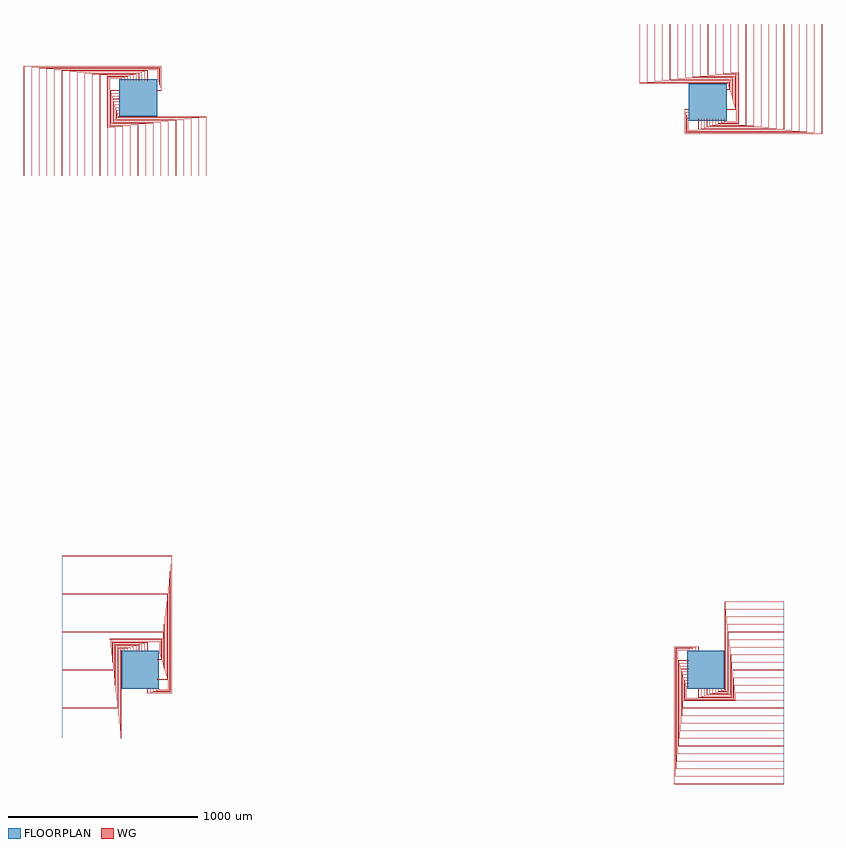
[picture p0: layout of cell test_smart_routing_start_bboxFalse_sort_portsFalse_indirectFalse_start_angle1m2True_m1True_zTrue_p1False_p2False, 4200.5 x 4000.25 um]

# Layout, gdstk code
import gdstk
lib = gdstk.Library(unit=1e-6, precision=1e-09)
def R(c, l, rs):  # rectangles x0, y0, x1, y1
    for r in rs: c.add(gdstk.rectangle(r[:2], r[2:], *l))
def P(c, l, *ps):  # polygons
    for p in ps: c.add(gdstk.Polygon(p, *l))
WG = (1, 0)
FLOORPLAN = (10, 0)

test_smart_routing_start = lib.new_cell('test_smart_routing_start_bboxFalse_sort_portsFalse_indirectFalse_start_angle1m2True_m1True_zTrue_p1False_p2False')
P(test_smart_routing_start, WG, [(49.75,-122.5),(49.75,-100),(50.25,-100),(50.25,-122),(177.25,-122),(177.25,599.75),(-400,599.75),(-400,600.25),(177.75,600.25),(177.75,-122.5)],
  [(64.75,-118),(64.75,-100),(65.25,-100),(65.25,-117.5),(172.75,-117.5),(172.75,559.75),(-400,559.75),(-400,560.25),(173.25,560.25),(173.25,-118)],
  [(79.75,-113.5),(79.75,-100),(80.25,-100),(80.25,-113),(168.25,-113),(168.25,519.75),(-400,519.75),(-400,520.25),(168.75,520.25),(168.75,-113.5)],
  [(94.75,-109),(94.75,-100),(95.25,-100),(95.25,-108.5),(163.75,-108.5),(163.75,479.75),(-400,479.75),(-400,480.25),(164.25,480.25),(164.25,-109)],
  [(109.75,-104.5),(109.75,-100),(110.25,-100),(110.25,-104),(159.25,-104),(159.25,439.75),(-400,439.75),(-400,440.25),(159.75,440.25),(159.75,-104.5)],
  [(100,-50.25),(100,-49.75),(154.75,-49.75),(154.75,399.75),(-400,399.75),(-400,400.25),(155.25,400.25),(155.25,-50.25)],
  [(100,-35.25),(100,-34.75),(150.25,-34.75),(150.25,359.75),(-400,359.75),(-400,360.25),(150.75,360.25),(150.75,-35.25)],
  [(100,-20.25),(100,-19.75),(145.75,-19.75),(145.75,319.75),(-400,319.75),(-400,320.25),(146.25,320.25),(146.25,-20.25)],
  [(100,-5.25),(100,-4.75),(141.25,-4.75),(141.25,279.75),(-400,279.75),(-400,280.25),(141.75,280.25),(141.75,-5.25)],
  [(100,9.75),(100,10.25),(136.75,10.25),(136.75,239.75),(-400,239.75),(-400,240.25),(137.25,240.25),(137.25,9.75)],
  [(100,24.75),(100,25.25),(132.25,25.25),(132.25,199.75),(-400,199.75),(-400,200.25),(132.75,200.25),(132.75,24.75)],
  [(100,39.75),(100,40.25),(127.75,40.25),(127.75,162.5),(-147.75,162.5),(-147.75,159.75),(-400,159.75),(-400,160.25),(-148.25,160.25),(-148.25,163),(128.25,163),(128.25,39.75)],
  [(100,54.75),(100,55.25),(123.25,55.25),(123.25,158),(-143.25,158),(-143.25,119.75),(-400,119.75),(-400,120.25),(-143.75,120.25),(-143.75,158.5),(123.75,158.5),(123.75,54.75)],
  [(100,69.75),(100,70.25),(118.75,70.25),(118.75,153.5),(-138.75,153.5),(-138.75,79.75),(-400,79.75),(-400,80.25),(-139.25,80.25),(-139.25,154),(119.25,154),(119.25,69.75)],
  [(-400,39.75),(-400,40.25),(-134.75,40.25),(-134.75,149.5),(114.75,149.5),(114.75,84.75),(100,84.75),(100,85.25),(114.25,85.25),(114.25,149),(-134.25,149),(-134.25,39.75)],
  [(-400,-0.25),(-400,0.25),(-130.25,0.25),(-130.25,145),(50.25,145),(50.25,100),(49.75,100),(49.75,144.5),(-129.75,144.5),(-129.75,-0.25)],
  [(-400,-40.25),(-400,-39.75),(-125.75,-39.75),(-125.75,140.5),(35.25,140.5),(35.25,100),(34.75,100),(34.75,140),(-125.25,140),(-125.25,-40.25)],
  [(-400,-80.25),(-400,-79.75),(-121.25,-79.75),(-121.25,136),(20.25,136),(20.25,100),(19.75,100),(19.75,135.5),(-120.75,135.5),(-120.75,-80.25)],
  [(-400,-120.25),(-400,-119.75),(-116.75,-119.75),(-116.75,131.5),(5.25,131.5),(5.25,100),(4.75,100),(4.75,131),(-116.25,131),(-116.25,-120.25)],
  [(-400,-160.25),(-400,-159.75),(-112.25,-159.75),(-112.25,127),(-9.75,127),(-9.75,100),(-10.25,100),(-10.25,126.5),(-111.75,126.5),(-111.75,-160.25)],
  [(-400,-200.25),(-400,-199.75),(-107.75,-199.75),(-107.75,122.5),(-24.75,122.5),(-24.75,100),(-25.25,100),(-25.25,122),(-107.25,122),(-107.25,-200.25)],
  [(-400,-240.25),(-400,-239.75),(-103.25,-239.75),(-103.25,118),(-39.75,118),(-39.75,100),(-40.25,100),(-40.25,117.5),(-102.75,117.5),(-102.75,-240.25)],
  [(-400,-280.25),(-400,-279.75),(-98.75,-279.75),(-98.75,113.5),(-54.75,113.5),(-54.75,100),(-55.25,100),(-55.25,113),(-98.25,113),(-98.25,-280.25)],
  [(-400,-320.25),(-400,-319.75),(-94.25,-319.75),(-94.25,109),(-69.75,109),(-69.75,100),(-70.25,100),(-70.25,108.5),(-93.75,108.5),(-93.75,-320.25)],
  [(-400,-360.25),(-400,-359.75),(-89.75,-359.75),(-89.75,104.5),(-84.75,104.5),(-84.75,100),(-85.25,100),(-85.25,104),(-89.25,104),(-89.25,-360.25)],
  [(-600.25,2600),(-600.25,3177.75),(122.5,3177.75),(122.5,3049.75),(100,3049.75),(100,3050.25),(122,3050.25),(122,3177.25),(-599.75,3177.25),(-599.75,2600)],
  [(-560.25,2600),(-560.25,3173.25),(118,3173.25),(118,3064.75),(100,3064.75),(100,3065.25),(117.5,3065.25),(117.5,3172.75),(-559.75,3172.75),(-559.75,2600)],
  [(-520.25,2600),(-520.25,3168.75),(113.5,3168.75),(113.5,3079.75),(100,3079.75),(100,3080.25),(113,3080.25),(113,3168.25),(-519.75,3168.25),(-519.75,2600)],
  [(-480.25,2600),(-480.25,3164.25),(109,3164.25),(109,3094.75),(100,3094.75),(100,3095.25),(108.5,3095.25),(108.5,3163.75),(-479.75,3163.75),(-479.75,2600)],
  [(-440.25,2600),(-440.25,3159.75),(104.5,3159.75),(104.5,3109.75),(100,3109.75),(100,3110.25),(104,3110.25),(104,3159.25),(-439.75,3159.25),(-439.75,2600)],
  [(-400.25,2600),(-400.25,3155.25),(50.25,3155.25),(50.25,3100),(49.75,3100),(49.75,3154.75),(-399.75,3154.75),(-399.75,2600)],
  [(-360.25,2600),(-360.25,3150.75),(35.25,3150.75),(35.25,3100),(34.75,3100),(34.75,3150.25),(-359.75,3150.25),(-359.75,2600)],
  [(-320.25,2600),(-320.25,3146.25),(20.25,3146.25),(20.25,3100),(19.75,3100),(19.75,3145.75),(-319.75,3145.75),(-319.75,2600)],
  [(-280.25,2600),(-280.25,3141.75),(5.25,3141.75),(5.25,3100),(4.75,3100),(4.75,3141.25),(-279.75,3141.25),(-279.75,2600)],
  [(-240.25,2600),(-240.25,3137.25),(-9.75,3137.25),(-9.75,3100),(-10.25,3100),(-10.25,3136.75),(-239.75,3136.75),(-239.75,2600)],
  [(-200.25,2600),(-200.25,3132.75),(-24.75,3132.75),(-24.75,3100),(-25.25,3100),(-25.25,3132.25),(-199.75,3132.25),(-199.75,2600)],
  [(-160.25,2600),(-160.25,2851.75),(-163,2851.75),(-163,3128.25),(-39.75,3128.25),(-39.75,3100),(-40.25,3100),(-40.25,3127.75),(-162.5,3127.75),(-162.5,2852.25),(-159.75,2852.25),(-159.75,2600)],
  [(-120.25,2600),(-120.25,2856.25),(-158.5,2856.25),(-158.5,3123.75),(-54.75,3123.75),(-54.75,3100),(-55.25,3100),(-55.25,3123.25),(-158,3123.25),(-158,2856.75),(-119.75,2856.75),(-119.75,2600)],
  [(-80.25,2600),(-80.25,2860.75),(-154,2860.75),(-154,3119.25),(-69.75,3119.25),(-69.75,3100),(-70.25,3100),(-70.25,3118.75),(-153.5,3118.75),(-153.5,2861.25),(-79.75,2861.25),(-79.75,2600)],
  [(-40.25,2600),(-40.25,2865.25),(-149.5,2865.25),(-149.5,3114.75),(-84.75,3114.75),(-84.75,3100),(-85.25,3100),(-85.25,3114.25),(-149,3114.25),(-149,2865.75),(-39.75,2865.75),(-39.75,2600)],
  [(-0.25,2600),(-0.25,2869.75),(-145,2869.75),(-145,3050.25),(-100,3050.25),(-100,3049.75),(-144.5,3049.75),(-144.5,2870.25),(0.25,2870.25),(0.25,2600)],
  [(39.75,2600),(39.75,2874.25),(-140.5,2874.25),(-140.5,3035.25),(-100,3035.25),(-100,3034.75),(-140,3034.75),(-140,2874.75),(40.25,2874.75),(40.25,2600)],
  [(79.75,2600),(79.75,2878.75),(-136,2878.75),(-136,3020.25),(-100,3020.25),(-100,3019.75),(-135.5,3019.75),(-135.5,2879.25),(80.25,2879.25),(80.25,2600)],
  [(119.75,2600),(119.75,2883.25),(-131.5,2883.25),(-131.5,3005.25),(-100,3005.25),(-100,3004.75),(-131,3004.75),(-131,2883.75),(120.25,2883.75),(120.25,2600)],
  [(159.75,2600),(159.75,2887.75),(-127,2887.75),(-127,2990.25),(-100,2990.25),(-100,2989.75),(-126.5,2989.75),(-126.5,2888.25),(160.25,2888.25),(160.25,2600)],
  [(199.75,2600),(199.75,2892.25),(-122.5,2892.25),(-122.5,2975.25),(-100,2975.25),(-100,2974.75),(-122,2974.75),(-122,2892.75),(200.25,2892.75),(200.25,2600)],
  [(239.75,2600),(239.75,2896.75),(-118,2896.75),(-118,2960.25),(-100,2960.25),(-100,2959.75),(-117.5,2959.75),(-117.5,2897.25),(240.25,2897.25),(240.25,2600)],
  [(279.75,2600),(279.75,2901.25),(-113.5,2901.25),(-113.5,2945.25),(-100,2945.25),(-100,2944.75),(-113,2944.75),(-113,2901.75),(280.25,2901.75),(280.25,2600)],
  [(319.75,2600),(319.75,2905.75),(-109,2905.75),(-109,2930.25),(-100,2930.25),(-100,2929.75),(-108.5,2929.75),(-108.5,2906.25),(320.25,2906.25),(320.25,2600)],
  [(359.75,2600),(359.75,2910.25),(-104.5,2910.25),(-104.5,2915.25),(-100,2915.25),(-100,2914.75),(-104,2914.75),(-104,2910.75),(360.25,2910.75),(360.25,2600)],
  [(2822.25,-600.25),(2822.25,122.5),(2950.25,122.5),(2950.25,100),(2949.75,100),(2949.75,122),(2822.75,122),(2822.75,-599.75),(3400,-599.75),(3400,-600.25)],
  [(2826.75,-560.25),(2826.75,118),(2935.25,118),(2935.25,100),(2934.75,100),(2934.75,117.5),(2827.25,117.5),(2827.25,-559.75),(3400,-559.75),(3400,-560.25)],
  [(2831.25,-520.25),(2831.25,113.5),(2920.25,113.5),(2920.25,100),(2919.75,100),(2919.75,113),(2831.75,113),(2831.75,-519.75),(3400,-519.75),(3400,-520.25)],
  [(2835.75,-480.25),(2835.75,109),(2905.25,109),(2905.25,100),(2904.75,100),(2904.75,108.5),(2836.25,108.5),(2836.25,-479.75),(3400,-479.75),(3400,-480.25)],
  [(2840.25,-440.25),(2840.25,104.5),(2890.25,104.5),(2890.25,100),(2889.75,100),(2889.75,104),(2840.75,104),(2840.75,-439.75),(3400,-439.75),(3400,-440.25)],
  [(2844.75,-400.25),(2844.75,50.25),(2900,50.25),(2900,49.75),(2845.25,49.75),(2845.25,-399.75),(3400,-399.75),(3400,-400.25)],
  [(2849.25,-360.25),(2849.25,35.25),(2900,35.25),(2900,34.75),(2849.75,34.75),(2849.75,-359.75),(3400,-359.75),(3400,-360.25)],
  [(2853.75,-320.25),(2853.75,20.25),(2900,20.25),(2900,19.75),(2854.25,19.75),(2854.25,-319.75),(3400,-319.75),(3400,-320.25)],
  [(2858.25,-280.25),(2858.25,5.25),(2900,5.25),(2900,4.75),(2858.75,4.75),(2858.75,-279.75),(3400,-279.75),(3400,-280.25)],
  [(2862.75,-240.25),(2862.75,-9.75),(2900,-9.75),(2900,-10.25),(2863.25,-10.25),(2863.25,-239.75),(3400,-239.75),(3400,-240.25)],
  [(2867.25,-200.25),(2867.25,-24.75),(2900,-24.75),(2900,-25.25),(2867.75,-25.25),(2867.75,-199.75),(3400,-199.75),(3400,-200.25)],
  [(2871.75,-163),(2871.75,-39.75),(2900,-39.75),(2900,-40.25),(2872.25,-40.25),(2872.25,-162.5),(3147.75,-162.5),(3147.75,-159.75),(3400,-159.75),(3400,-160.25),(3148.25,-160.25),(3148.25,-163)],
  [(2876.25,-158.5),(2876.25,-54.75),(2900,-54.75),(2900,-55.25),(2876.75,-55.25),(2876.75,-158),(3143.25,-158),(3143.25,-119.75),(3400,-119.75),(3400,-120.25),(3143.75,-120.25),(3143.75,-158.5)],
  [(2880.75,-154),(2880.75,-69.75),(2900,-69.75),(2900,-70.25),(2881.25,-70.25),(2881.25,-153.5),(3138.75,-153.5),(3138.75,-79.75),(3400,-79.75),(3400,-80.25),(3139.25,-80.25),(3139.25,-154)],
  [(2885.25,-149.5),(2885.25,-84.75),(2900,-84.75),(2900,-85.25),(2885.75,-85.25),(2885.75,-149),(3134.25,-149),(3134.25,-39.75),(3400,-39.75),(3400,-40.25),(3134.75,-40.25),(3134.75,-149.5)],
  [(2949.75,-145),(2949.75,-100),(2950.25,-100),(2950.25,-144.5),(3129.75,-144.5),(3129.75,0.25),(3400,0.25),(3400,-0.25),(3130.25,-0.25),(3130.25,-145)],
  [(2964.75,-140.5),(2964.75,-100),(2965.25,-100),(2965.25,-140),(3125.25,-140),(3125.25,40.25),(3400,40.25),(3400,39.75),(3125.75,39.75),(3125.75,-140.5)],
  [(2979.75,-136),(2979.75,-100),(2980.25,-100),(2980.25,-135.5),(3120.75,-135.5),(3120.75,80.25),(3400,80.25),(3400,79.75),(3121.25,79.75),(3121.25,-136)],
  [(2994.75,-131.5),(2994.75,-100),(2995.25,-100),(2995.25,-131),(3116.25,-131),(3116.25,120.25),(3400,120.25),(3400,119.75),(3116.75,119.75),(3116.75,-131.5)],
  [(3009.75,-127),(3009.75,-100),(3010.25,-100),(3010.25,-126.5),(3111.75,-126.5),(3111.75,160.25),(3400,160.25),(3400,159.75),(3112.25,159.75),(3112.25,-127)],
  [(3024.75,-122.5),(3024.75,-100),(3025.25,-100),(3025.25,-122),(3107.25,-122),(3107.25,200.25),(3400,200.25),(3400,199.75),(3107.75,199.75),(3107.75,-122.5)],
  [(3039.75,-118),(3039.75,-100),(3040.25,-100),(3040.25,-117.5),(3102.75,-117.5),(3102.75,240.25),(3400,240.25),(3400,239.75),(3103.25,239.75),(3103.25,-118)],
  [(3054.75,-113.5),(3054.75,-100),(3055.25,-100),(3055.25,-113),(3098.25,-113),(3098.25,280.25),(3400,280.25),(3400,279.75),(3098.75,279.75),(3098.75,-113.5)],
  [(3069.75,-109),(3069.75,-100),(3070.25,-100),(3070.25,-108.5),(3093.75,-108.5),(3093.75,320.25),(3400,320.25),(3400,319.75),(3094.25,319.75),(3094.25,-109)],
  [(3084.75,-104.5),(3084.75,-100),(3085.25,-100),(3085.25,-104),(3089.25,-104),(3089.25,360.25),(3400,360.25),(3400,359.75),(3089.75,359.75),(3089.75,-104.5)],
  [(2877.5,2822.25),(2877.5,2950.25),(2900,2950.25),(2900,2949.75),(2878,2949.75),(2878,2822.75),(3599.75,2822.75),(3599.75,3400),(3600.25,3400),(3600.25,2822.25)],
  [(2882,2826.75),(2882,2935.25),(2900,2935.25),(2900,2934.75),(2882.5,2934.75),(2882.5,2827.25),(3559.75,2827.25),(3559.75,3400),(3560.25,3400),(3560.25,2826.75)],
  [(2886.5,2831.25),(2886.5,2920.25),(2900,2920.25),(2900,2919.75),(2887,2919.75),(2887,2831.75),(3519.75,2831.75),(3519.75,3400),(3520.25,3400),(3520.25,2831.25)],
  [(2891,2835.75),(2891,2905.25),(2900,2905.25),(2900,2904.75),(2891.5,2904.75),(2891.5,2836.25),(3479.75,2836.25),(3479.75,3400),(3480.25,3400),(3480.25,2835.75)],
  [(2895.5,2840.25),(2895.5,2890.25),(2900,2890.25),(2900,2889.75),(2896,2889.75),(2896,2840.75),(3439.75,2840.75),(3439.75,3400),(3440.25,3400),(3440.25,2840.25)],
  [(2949.75,2844.75),(2949.75,2900),(2950.25,2900),(2950.25,2845.25),(3399.75,2845.25),(3399.75,3400),(3400.25,3400),(3400.25,2844.75)],
  [(2964.75,2849.25),(2964.75,2900),(2965.25,2900),(2965.25,2849.75),(3359.75,2849.75),(3359.75,3400),(3360.25,3400),(3360.25,2849.25)],
  [(2979.75,2853.75),(2979.75,2900),(2980.25,2900),(2980.25,2854.25),(3319.75,2854.25),(3319.75,3400),(3320.25,3400),(3320.25,2853.75)],
  [(2994.75,2858.25),(2994.75,2900),(2995.25,2900),(2995.25,2858.75),(3279.75,2858.75),(3279.75,3400),(3280.25,3400),(3280.25,2858.25)],
  [(3009.75,2862.75),(3009.75,2900),(3010.25,2900),(3010.25,2863.25),(3239.75,2863.25),(3239.75,3400),(3240.25,3400),(3240.25,2862.75)],
  [(3024.75,2867.25),(3024.75,2900),(3025.25,2900),(3025.25,2867.75),(3199.75,2867.75),(3199.75,3400),(3200.25,3400),(3200.25,2867.25)],
  [(3039.75,2871.75),(3039.75,2900),(3040.25,2900),(3040.25,2872.25),(3162.5,2872.25),(3162.5,3147.75),(3159.75,3147.75),(3159.75,3400),(3160.25,3400),(3160.25,3148.25),(3163,3148.25),(3163,2871.75)],
  [(3054.75,2876.25),(3054.75,2900),(3055.25,2900),(3055.25,2876.75),(3158,2876.75),(3158,3143.25),(3119.75,3143.25),(3119.75,3400),(3120.25,3400),(3120.25,3143.75),(3158.5,3143.75),(3158.5,2876.25)],
  [(3069.75,2880.75),(3069.75,2900),(3070.25,2900),(3070.25,2881.25),(3153.5,2881.25),(3153.5,3138.75),(3079.75,3138.75),(3079.75,3400),(3080.25,3400),(3080.25,3139.25),(3154,3139.25),(3154,2880.75)],
  [(3084.75,2885.25),(3084.75,2900),(3085.25,2900),(3085.25,2885.75),(3149,2885.75),(3149,3134.25),(3039.75,3134.25),(3039.75,3400),(3040.25,3400),(3040.25,3134.75),(3149.5,3134.75),(3149.5,2885.25)],
  [(3100,2949.75),(3100,2950.25),(3144.5,2950.25),(3144.5,3129.75),(2999.75,3129.75),(2999.75,3400),(3000.25,3400),(3000.25,3130.25),(3145,3130.25),(3145,2949.75)],
  [(3100,2964.75),(3100,2965.25),(3140,2965.25),(3140,3125.25),(2959.75,3125.25),(2959.75,3400),(2960.25,3400),(2960.25,3125.75),(3140.5,3125.75),(3140.5,2964.75)],
  [(3100,2979.75),(3100,2980.25),(3135.5,2980.25),(3135.5,3120.75),(2919.75,3120.75),(2919.75,3400),(2920.25,3400),(2920.25,3121.25),(3136,3121.25),(3136,2979.75)],
  [(3100,2994.75),(3100,2995.25),(3131,2995.25),(3131,3116.25),(2879.75,3116.25),(2879.75,3400),(2880.25,3400),(2880.25,3116.75),(3131.5,3116.75),(3131.5,2994.75)],
  [(3100,3009.75),(3100,3010.25),(3126.5,3010.25),(3126.5,3111.75),(2839.75,3111.75),(2839.75,3400),(2840.25,3400),(2840.25,3112.25),(3127,3112.25),(3127,3009.75)],
  [(3100,3024.75),(3100,3025.25),(3122,3025.25),(3122,3107.25),(2799.75,3107.25),(2799.75,3400),(2800.25,3400),(2800.25,3107.75),(3122.5,3107.75),(3122.5,3024.75)],
  [(3100,3039.75),(3100,3040.25),(3117.5,3040.25),(3117.5,3102.75),(2759.75,3102.75),(2759.75,3400),(2760.25,3400),(2760.25,3103.25),(3118,3103.25),(3118,3039.75)],
  [(3100,3054.75),(3100,3055.25),(3113,3055.25),(3113,3098.25),(2719.75,3098.25),(2719.75,3400),(2720.25,3400),(2720.25,3098.75),(3113.5,3098.75),(3113.5,3054.75)],
  [(3100,3069.75),(3100,3070.25),(3108.5,3070.25),(3108.5,3093.75),(2679.75,3093.75),(2679.75,3400),(2680.25,3400),(2680.25,3094.25),(3109,3094.25),(3109,3069.75)],
  [(3100,3084.75),(3100,3085.25),(3104,3085.25),(3104,3089.25),(2639.75,3089.25),(2639.75,3400),(2640.25,3400),(2640.25,3089.75),(3104.5,3089.75),(3104.5,3084.75)])
R(test_smart_routing_start, FLOORPLAN, [(-85,-100,110,100), (2890,-100,3085,100), (2900,2890,3100,3085), (-100,2915,100,3110)])
P(test_smart_routing_start, FLOORPLAN, [(-400,-360),(-400,600),(-400,600),(-400,-360)],
  [(-600,2600),(-600,2600),(360,2600),(360,2600)],
  [(3400,-600),(3400,360),(3400,360),(3400,-600)],
  [(2640,3400),(2640,3400),(3600,3400),(3600,3400)])

lib.write_gds('test_smart_routing_start_bboxFalse_sort_portsFalse_indirectFalse_start_angle1m2True_m1True_zTrue_p1False_p2False.gds')
